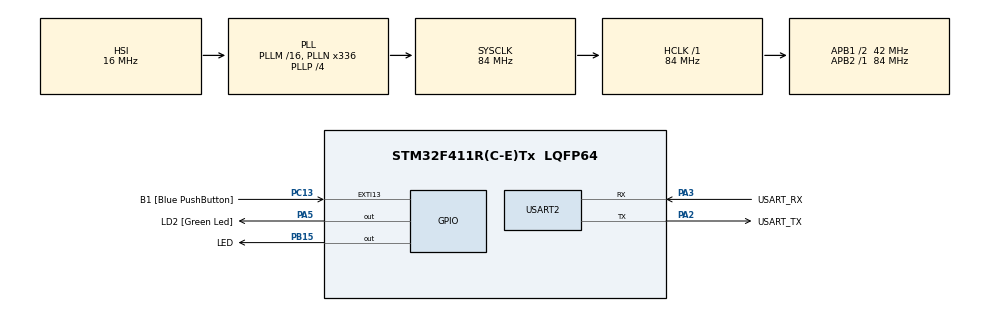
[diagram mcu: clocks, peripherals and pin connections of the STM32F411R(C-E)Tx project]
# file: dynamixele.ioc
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Mcu.Family=STM32F4
Mcu.Name=STM32F411R(C-E)Tx
Mcu.Package=LQFP64
NVIC.PriorityGroup=NVIC_PRIORITYGROUP_0
PA13.GPIO_Label=TMS
PA13.Mode=Serial_Wire
PA13.Signal=SYS_JTMS-SWDIO
PA14.GPIO_Label=TCK
PA14.Mode=Serial_Wire
PA14.Signal=SYS_JTCK-SWCLK
PA2.GPIO_Label=USART_TX
PA2.Mode=Asynchronous
PA2.Signal=USART2_TX
PA3.GPIO_Label=USART_RX
PA3.Mode=Asynchronous
PA3.Signal=USART2_RX
PA5.GPIO_Label=LD2 [Green Led]
PA5.Signal=GPIO_Output
PB15.GPIO_Label=LED
PB15.Signal=GPIO_Output
PB3.GPIO_Label=SWO
PB3.Signal=SYS_JTDO-SWO
PC13-ANTI_TAMP.GPIO_Label=B1 [Blue PushButton]
PC13-ANTI_TAMP.GPIO_ModeDefaultEXTI=GPIO_MODE_IT_FALLING
PC13-ANTI_TAMP.Signal=GPXTI13
PC14-OSC32_IN.Mode=LSE-External-Oscillator
PC14-OSC32_IN.Signal=RCC_OSC32_IN
PC15-OSC32_OUT.Mode=LSE-External-Oscillator
PC15-OSC32_OUT.Signal=RCC_OSC32_OUT
PH0\ -\ OSC_IN.Mode=HSE-External-Clock-Source
PH0\ -\ OSC_IN.Signal=RCC_OSC_IN
PH1\ -\ OSC_OUT.Mode=HSE-External-Clock-Source
PH1\ -\ OSC_OUT.Signal=RCC_OSC_OUT
ProjectManager.HeapSize=0x200
ProjectManager.StackSize=0x400
ProjectManager.TargetToolchain=TrueSTUDIO
RCC.48MHZClocksFreq_Value=84000000
RCC.AHBFreq_Value=84000000
RCC.APB1CLKDivider=RCC_HCLK_DIV2
RCC.APB1Freq_Value=42000000
RCC.APB1TimFreq_Value=84000000
RCC.APB2Freq_Value=84000000
RCC.APB2TimFreq_Value=84000000
RCC.CortexFreq_Value=84000000
RCC.FLatency-AdvancedSettings=FLASH_LATENCY_2
RCC.HCLKFreq_Value=84000000
RCC.HSE_VALUE=8000000
RCC.HSI_VALUE=16000000
RCC.PLLN=336
RCC.PLLP=RCC_PLLP_DIV4
RCC.SYSCLKFreq_VALUE=84000000
RCC.SYSCLKSource=RCC_SYSCLKSOURCE_PLLCLK
RCC.VCOOutputFreq_Value=336000000
USART2.VirtualMode=VM_ASYNC
VP_TIM10_VS_ClockSourceINT.Mode=Enable_Timer
board=NUCLEO-F411RE

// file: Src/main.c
/**
  ******************************************************************************
  * @file           : main.c
  * @brief          : Main program body
  ******************************************************************************
  ** This notice applies to any and all portions of this file
  * that are not between comment pairs USER CODE BEGIN and
  * USER CODE END. Other portions of this file, whether
  * inserted by the user or by software development tools
  * are owned by their respective copyright owners.
  *
  * COPYRIGHT(c) 2018 STMicroelectronics
  *
  * Redistribution and use in source and binary forms, with or without modification,
  * are permitted provided that the following conditions are met:
  *   1. Redistributions of source code must retain the above copyright notice,
  *      this list of conditions and the following disclaimer.
  *   2. Redistributions in binary form must reproduce the above copyright notice,
  *      this list of conditions and the following disclaimer in the documentation
  *      and/or other materials provided with the distribution.
  *   3. Neither the name of STMicroelectronics nor the names of its contributors
  *      may be used to endorse or promote products derived from this software
  *      without specific prior written permission.
  *
  * THIS SOFTWARE IS PROVIDED BY THE COPYRIGHT HOLDERS AND CONTRIBUTORS "AS IS"
  * AND ANY EXPRESS OR IMPLIED WARRANTIES, INCLUDING, BUT NOT LIMITED TO, THE
  * IMPLIED WARRANTIES OF MERCHANTABILITY AND FITNESS FOR A PARTICULAR PURPOSE ARE
  * DISCLAIMED. IN NO EVENT SHALL THE COPYRIGHT HOLDER OR CONTRIBUTORS BE LIABLE
  * FOR ANY DIRECT, INDIRECT, INCIDENTAL, SPECIAL, EXEMPLARY, OR CONSEQUENTIAL
  * DAMAGES (INCLUDING, BUT NOT LIMITED TO, PROCUREMENT OF SUBSTITUTE GOODS OR
  * SERVICES; LOSS OF USE, DATA, OR PROFITS; OR BUSINESS INTERRUPTION) HOWEVER
  * CAUSED AND ON ANY THEORY OF LIABILITY, WHETHER IN CONTRACT, STRICT LIABILITY,
  * OR TORT (INCLUDING NEGLIGENCE OR OTHERWISE) ARISING IN ANY WAY OUT OF THE USE
  * OF THIS SOFTWARE, EVEN IF ADVISED OF THE POSSIBILITY OF SUCH DAMAGE.
  *
  ******************************************************************************
  */
#include "main.h"
#include "stm32f4xx_hal.h"

TIM_HandleTypeDef htim10;

UART_HandleTypeDef huart2;

/* USER CODE BEGIN PV */
/* Private variables ---------------------------------------------------------*/

/* USER CODE END PV */

void SystemClock_Config(void);
static void MX_GPIO_Init(void);
static void MX_TIM10_Init(void);
static void MX_USART2_UART_Init(void);

/* USER CODE BEGIN PFP */
/* Private function prototypes -----------------------------------------------*/

/* USER CODE END PFP */
/*void writeData(uint8_t ID, uint8_t length, uint8_t instruction, uint8_t *parameters, UART_HandleTypeDef* huart){
	uint8_t *msg;
	msg[0]=0xFF;
	msg[1]=0xFF;
	msg[2]=ID;
	msg[3]=length;
	for (int i=0; i<length-2;i++){
		msg[i+4]=parameters[i];
	}
	msg[length+3]=~(msg[2]+msg[3]+msg[4]+msg[5]+msg[6]+msg[7]+msg[8]+msg[9]);
	HAL_UART_Transmit_IT(huart, msg, length+4);

}*/

int main(void)
{

  /* MCU Configuration----------------------------------------------------------*/

  /* Reset of all peripherals, Initializes the Flash interface and the Systick. */
  HAL_Init();

  /* Configure the system clock */
  SystemClock_Config();

  /* Initialize all configured peripherals */
  MX_GPIO_Init();
  MX_TIM10_Init();
  MX_USART2_UART_Init();

  /* Infinite loop */
  /* USER CODE BEGIN WHILE */
  while (1)
  {
	  HAL_Delay(500);
	  int8_t value[2];
	  value[0]=0;
	  value[1]=1;
	  //writeData(0xFE,2,0x03,value,&huart2);

	  uint8_t ID = 0xFE;
	  uint8_t length = 4;
	  uint8_t *msg;
	  msg[0]=0xFF;
	  msg[1]=0xFF;
	  msg[2]=ID;
	  msg[3]=length;
	  msg[4]=0x03;
	  msg[5]=0x19;
	  msg[6]=0x01;
	  msg[6]=~(msg[2]+msg[3]+msg[4]+msg[5]+msg[6]+msg[7]+msg[8]+msg[9]);

	  //msg[length+3]=~(msg[2]+msg[3]+msg[4]+msg[5]+msg[6]+msg[7]+msg[8]+msg[9]);
	  HAL_UART_Transmit_IT(&huart2, msg, 7);
  /* USER CODE END WHILE */

  }

}

void SystemClock_Config(void)
{

  RCC_OscInitTypeDef RCC_OscInitStruct;
  RCC_ClkInitTypeDef RCC_ClkInitStruct;

    /**Configure the main internal regulator output voltage
    */
  __HAL_RCC_PWR_CLK_ENABLE();

  __HAL_PWR_VOLTAGESCALING_CONFIG(PWR_REGULATOR_VOLTAGE_SCALE1);

    /**Initializes the CPU, AHB and APB busses clocks
    */
  RCC_OscInitStruct.OscillatorType = RCC_OSCILLATORTYPE_HSI;
  RCC_OscInitStruct.HSIState = RCC_HSI_ON;
  RCC_OscInitStruct.HSICalibrationValue = 16;
  RCC_OscInitStruct.PLL.PLLState = RCC_PLL_ON;
  RCC_OscInitStruct.PLL.PLLSource = RCC_PLLSOURCE_HSI;
  RCC_OscInitStruct.PLL.PLLM = 16;
  RCC_OscInitStruct.PLL.PLLN = 336;
  RCC_OscInitStruct.PLL.PLLP = RCC_PLLP_DIV4;
  RCC_OscInitStruct.PLL.PLLQ = 4;
  if (HAL_RCC_OscConfig(&RCC_OscInitStruct) != HAL_OK)
  {
    _Error_Handler(__FILE__, __LINE__);
  }

    /**Initializes the CPU, AHB and APB busses clocks
    */
  RCC_ClkInitStruct.ClockType = RCC_CLOCKTYPE_HCLK|RCC_CLOCKTYPE_SYSCLK
                              |RCC_CLOCKTYPE_PCLK1|RCC_CLOCKTYPE_PCLK2;
  RCC_ClkInitStruct.SYSCLKSource = RCC_SYSCLKSOURCE_PLLCLK;
  RCC_ClkInitStruct.AHBCLKDivider = RCC_SYSCLK_DIV1;
  RCC_ClkInitStruct.APB1CLKDivider = RCC_HCLK_DIV2;
  RCC_ClkInitStruct.APB2CLKDivider = RCC_HCLK_DIV1;

  if (HAL_RCC_ClockConfig(&RCC_ClkInitStruct, FLASH_LATENCY_2) != HAL_OK)
  {
    _Error_Handler(__FILE__, __LINE__);
  }

    /**Configure the Systick interrupt time
    */
  HAL_SYSTICK_Config(HAL_RCC_GetHCLKFreq()/1000);

    /**Configure the Systick
    */
  HAL_SYSTICK_CLKSourceConfig(SYSTICK_CLKSOURCE_HCLK);

  /* SysTick_IRQn interrupt configuration */
  HAL_NVIC_SetPriority(SysTick_IRQn, 0, 0);
}

/* TIM10 init function */
static void MX_TIM10_Init(void)
{

  htim10.Instance = TIM10;
  htim10.Init.Prescaler = 0;
  htim10.Init.CounterMode = TIM_COUNTERMODE_UP;
  htim10.Init.Period = 0;
  htim10.Init.ClockDivision = TIM_CLOCKDIVISION_DIV1;
  if (HAL_TIM_Base_Init(&htim10) != HAL_OK)
  {
    _Error_Handler(__FILE__, __LINE__);
  }

}

/* USART2 init function */
static void MX_USART2_UART_Init(void)
{

  huart2.Instance = USART2;
  huart2.Init.BaudRate = 115200;
  huart2.Init.WordLength = UART_WORDLENGTH_8B;
  huart2.Init.StopBits = UART_STOPBITS_1;
  huart2.Init.Parity = UART_PARITY_NONE;
  huart2.Init.Mode = UART_MODE_TX_RX;
  huart2.Init.HwFlowCtl = UART_HWCONTROL_NONE;
  huart2.Init.OverSampling = UART_OVERSAMPLING_16;
  if (HAL_UART_Init(&huart2) != HAL_OK)
  {
    _Error_Handler(__FILE__, __LINE__);
  }

}

/** Configure pins as
        * Analog
        * Input
        * Output
        * EVENT_OUT
        * EXTI
*/
static void MX_GPIO_Init(void)
{

  GPIO_InitTypeDef GPIO_InitStruct;

  /* GPIO Ports Clock Enable */
  __HAL_RCC_GPIOC_CLK_ENABLE();
  __HAL_RCC_GPIOH_CLK_ENABLE();
  __HAL_RCC_GPIOA_CLK_ENABLE();
  __HAL_RCC_GPIOB_CLK_ENABLE();

  /*Configure GPIO pin Output Level */
  HAL_GPIO_WritePin(LD2_GPIO_Port, LD2_Pin, GPIO_PIN_RESET);

  /*Configure GPIO pin Output Level */
  HAL_GPIO_WritePin(LED_GPIO_Port, LED_Pin, GPIO_PIN_RESET);

  /*Configure GPIO pin : B1_Pin */
  GPIO_InitStruct.Pin = B1_Pin;
  GPIO_InitStruct.Mode = GPIO_MODE_IT_FALLING;
  GPIO_InitStruct.Pull = GPIO_NOPULL;
  HAL_GPIO_Init(B1_GPIO_Port, &GPIO_InitStruct);

  /*Configure GPIO pin : LD2_Pin */
  GPIO_InitStruct.Pin = LD2_Pin;
  GPIO_InitStruct.Mode = GPIO_MODE_OUTPUT_PP;
  GPIO_InitStruct.Pull = GPIO_NOPULL;
  GPIO_InitStruct.Speed = GPIO_SPEED_FREQ_LOW;
  HAL_GPIO_Init(LD2_GPIO_Port, &GPIO_InitStruct);

  /*Configure GPIO pin : LED_Pin */
  GPIO_InitStruct.Pin = LED_Pin;
  GPIO_InitStruct.Mode = GPIO_MODE_OUTPUT_PP;
  GPIO_InitStruct.Pull = GPIO_NOPULL;
  GPIO_InitStruct.Speed = GPIO_SPEED_FREQ_LOW;
  HAL_GPIO_Init(LED_GPIO_Port, &GPIO_InitStruct);

}

void _Error_Handler(char *file, int line)
{
  while(1)
  {
  }
}

/************************ (C) COPYRIGHT STMicroelectronics *****END OF FILE****/
